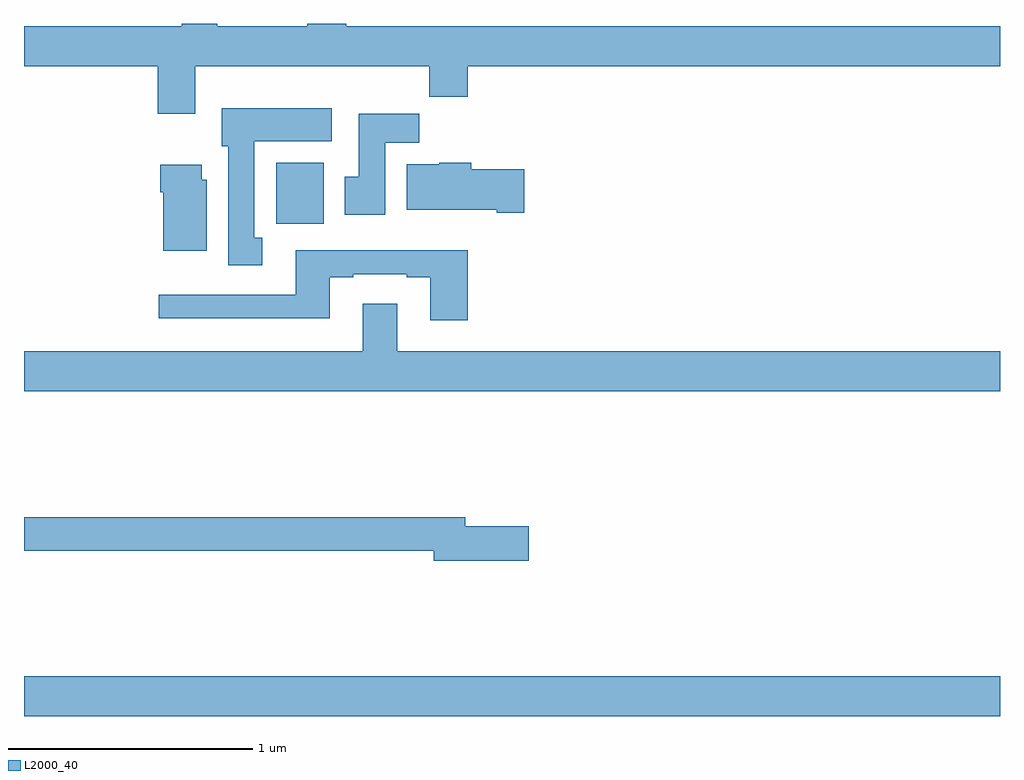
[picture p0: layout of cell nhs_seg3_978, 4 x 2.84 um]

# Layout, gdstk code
import gdstk
lib = gdstk.Library(unit=1e-6, precision=1e-09)
def R(c, l, rs):  # rectangles x0, y0, x1, y1
    for r in rs: c.add(gdstk.rectangle(r[:2], r[2:], *l))
def P(c, l, *ps):  # polygons
    for p in ps: c.add(gdstk.Polygon(p, *l))
L2000_40 = (2000, 40)

nhs_seg3_978 = lib.new_cell('nhs_seg3_978')
R(nhs_seg3_978, L2000_40, [(161,723.56,165,723.724), (162.033,725.58,162.229,725.83)])
P(nhs_seg3_978, L2000_40, [(161.701,726.224),(162.661,726.224),(162.661,726.1),(162.818,726.1),(162.818,726.224),(165,726.224),(165,726.388),(162.32,726.388),(162.32,726.4),(162.16,726.4),(162.16,726.388),(161.793,726.388),(161.793,726.4),(161.646,726.4),(161.646,726.388),(161,726.388),(161,726.224),(161.549,726.224),(161.549,726.03),(161.701,726.03)],
  [(161.977,725.521),(161.944,725.521),(161.944,725.918),(162.262,725.918),(162.262,726.052),(161.81,726.052),(161.81,725.898),(161.837,725.898),(161.837,725.409),(161.977,725.409)],
  [(162.481,725.912),(162.62,725.912),(162.62,726.031),(162.371,726.031),(162.371,725.772),(162.314,725.772),(162.314,725.616),(162.481,725.616)],
  [(163.051,725.802),(162.833,725.802),(162.833,725.83),(162.702,725.83),(162.702,725.824),(162.569,725.824),(162.569,725.636),(162.938,725.636),(162.938,725.624),(163.051,725.624)],
  [(161.749,725.76),(161.728,725.76),(161.728,725.821),(161.558,725.821),(161.558,725.708),(161.57,725.708),(161.57,725.468),(161.749,725.468)],
  [(162.818,725.47),(162.113,725.47),(162.113,725.289),(161.553,725.289),(161.553,725.192),(162.253,725.192),(162.253,725.361),(162.349,725.361),(162.349,725.373),(162.569,725.373),(162.569,725.361),(162.665,725.361),(162.665,725.184),(162.818,725.184)],
  [(165,725.056),(162.529,725.056),(162.529,725.251),(162.389,725.251),(162.389,725.056),(161,725.056),(161,724.892),(165,724.892)],
  [(163.069,724.34),(162.808,724.34),(162.808,724.376),(161,724.376),(161,724.24),(162.68,724.24),(162.68,724.198),(163.069,724.198)])

lib.write_gds('nhs_seg3_978.gds')
